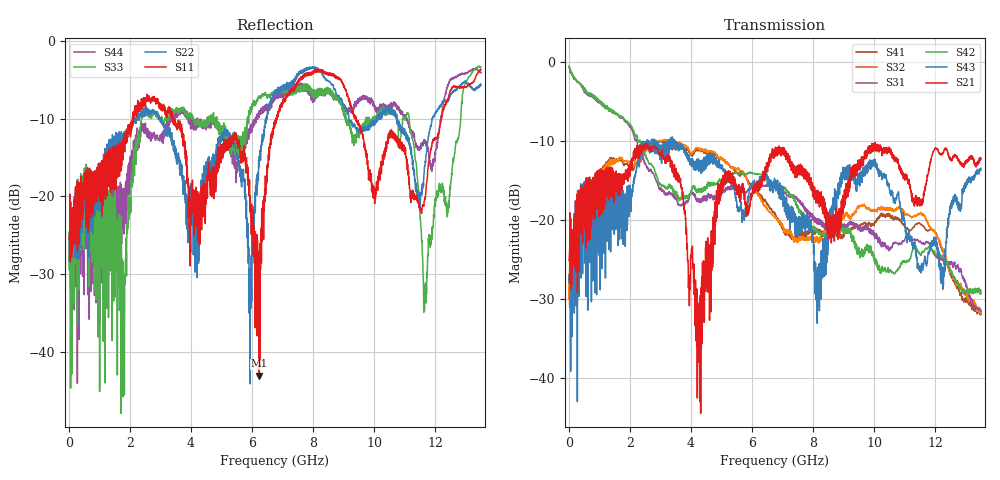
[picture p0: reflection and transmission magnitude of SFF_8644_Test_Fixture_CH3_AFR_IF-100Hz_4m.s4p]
!Keysight Technologies,N5231B,MY57181281,A.17.25.05
!Date: Friday, March 07, 2025 16:26:39
!Correction: S11(C  4-Port  )
!S12(C  4-Port  )
!S13(C  4-Port  )
!S14(C  4-Port  )
!S21(C  4-Port  )
!S22(C  4-Port  )
!S23(C  4-Port  )
!S24(C  4-Port  )
!S31(C  4-Port  )
!S32(C  4-Port  )
!S33(C  4-Port  )
!S34(C  4-Port  )
!S41(C  4-Port  )
!S42(C  4-Port  )
!S43(C  4-Port  )
!S44(C  4-Port  )
!S4P File: Measurements: <S11,S12,S13,S14>,
!<S21,S22,S23,S24>,
!<S31,S32,S33,S34>,
!<S41,S42,S43,S44>:
# Hz S  dB  R 50
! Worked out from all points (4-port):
!   1350 points, 10 MHz to 13.5 GHz, reference 50 ohm
!   strongest paths, dB at 10 MHz, 3.38 GHz, 6.76 GHz, 10.13 GHz, 13.5 GHz:
!     S21: -25.1, -13.8, -11.7, -10.5, -12.2
!     S43: -27.3, -10.9, -15.5, -13.6, -13.5
!     S42: -0.6, -15.9, -15.6, -26.3, -29.3
!     S31: -0.6, -16.7, -15.8, -22.8, -31.5
!     S32: -30.0, -10.3, -19.6, -18.7, -31.8
!     S41: -29.7, -11.0, -19.1, -19.8, -31.9
!   lowest |S11| = -43.0 dB at 6.24 GHz (marker M1), VSWR 1.01, Z = 50.6 - j0.426 ohm
!   |S11| at or under -10 dB: start of sweep to 2.084 GHz; 3.421 GHz to 6.798 GHz (3.377 GHz wide, 66.1 % of centre); 9.404 GHz to 12.21 GHz (2.807 GHz wide, 26 % of centre)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
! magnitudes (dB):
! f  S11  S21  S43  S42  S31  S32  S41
! 10 MHz  -25.4  -25.1  -27.3  -0.6  -0.6  -30.0  -29.7
! 2.78 GHz  -7.6  -10.8  -10.2  -13.4  -14.2  -10.8  -10.7
! 4.26 GHz  -22.5  -36.6  -13.9  -16.4  -17.6  -10.9  -11.0
! 6.24 GHz  -43.0  -15.3  -15.4  -14.2  -15.8  -17.0  -16.9
! 7.76 GHz  -4.5  -13.6  -19.5  -19.7  -18.7  -22.2  -21.7
! 11.67 GHz  -20.3  -15.8  -24.6  -23.7  -23.0  -19.7  -21.1
! 13.5 GHz  -3.7  -12.2  -13.5  -29.3  -31.5  -31.8  -31.9
